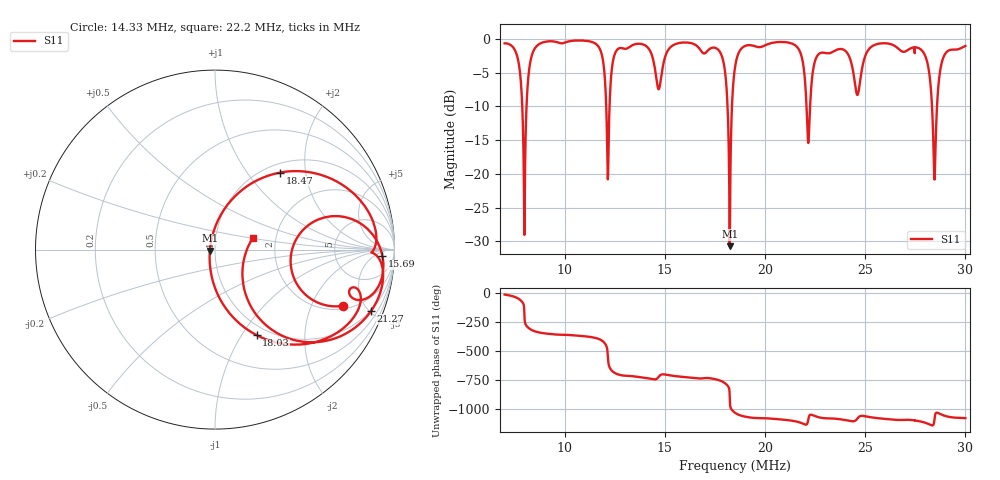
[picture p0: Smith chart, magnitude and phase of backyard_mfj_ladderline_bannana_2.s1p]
! Touchstone file generated by AntScope2
# MHz Z RI R 50
! Format: Frequency Z-real Z-imaginary (normalized to 50 Ohm)
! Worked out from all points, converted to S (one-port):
!   2001 points, 7 MHz to 30 MHz, reference 50 ohm
!   lowest |S11| = -30.7 dB at 18.24 MHz (marker M1), VSWR 1.06, Z = 47.2 - j0.52 ohm
!   |S11| at or under -10 dB: 7.881 MHz to 8.094 MHz (213.4 kHz wide, 2.67 % of centre); 18.13 MHz to 18.35 MHz (220.8 kHz wide, 1.21 % of centre); 28.33 MHz to 28.58 MHz (248.8 kHz wide, 0.874 % of centre)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
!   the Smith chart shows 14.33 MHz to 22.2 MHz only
!   S11 on the Smith chart (normalised r, x): 14.33 MHz: 2.18, -3.48; 15.69 MHz: 22, -13; 18.03 MHz: 0.88, -1.17; 18.47 MHz: 1.16, +1.46; 21.27 MHz: 0.95, -5.10; 22.2 MHz: 1.52, +0.21
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7  1.785 -6.703
7.6785  0.873 -1.799
7.9775  0.9294 -0.0554
8.4145  1.196 2.913
9.875  21.18 -11.96
11.462  0.5662 -4.073
12.129  0.812 -0.1494
12.3475  1.139 1.559
12.75  4.947 6.275
14.3255  2.181 -3.478
15.625  25.57 -6.096
15.694  21.81 -12.73
17.488  1.458 -4.097
18.0285  0.8802 -1.165
18.2355  0.9444 -0.0104
18.4655  1.16 1.459
18.5  1.214 1.711
21.2715  0.9456 -5.101
21.375  0.892 -4.507
22.203  1.516 0.207
22.7435  7.757 2.119
24.25  2.194 -2.735
24.917  3.262 2.488
27.125  3.632 -5.026
28.0565  1.009 -2.012
28.4245  1.162 -0.2194
28.8845  2.394 2.897
30  16.49 -2.96
